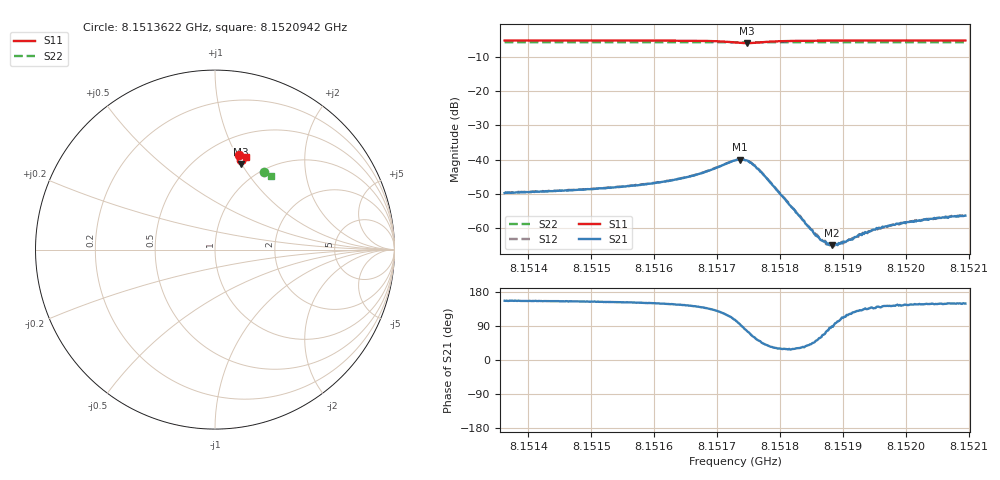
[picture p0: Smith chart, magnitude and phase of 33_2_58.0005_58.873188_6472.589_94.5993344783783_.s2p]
#  HZ  S  RI  R  50.00
! Rohde & Schwarz Vector Network Analyzer
! Rohde-Schwarz,ZNB20-2Port,1311601062101988,3.16
! Created: UTC 3/21/2024, 12:51:46 AM
! freq[Hz]  re:S11  im:S11  re:S21  im:S21  re:S12  im:S12  re:S22  im:S22
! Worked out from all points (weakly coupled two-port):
!   401 points, 8.1513622 GHz to 8.1520942 GHz, reference 50 ohm
!   highest |S21| = -39.98 dB at 8.1517355 GHz (marker M1); lowest = -64.9 dB at 8.1518819 GHz (marker M2)
!   lowest |S11| = -6.1 dB at 8.1517465 GHz (marker M3), VSWR 2.98, Z = 39.1 + j49.5 ohm
!   |S11| at or under -10 dB: nowhere
!   |S22| runs from -5.8 to -5.8 dB; largest |S21 - S12| = 0.0003
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8.15136218e9  0.1322 0.5275  -0.00298 0.0013  -0.00305 0.00137  0.2738 0.4349
8.15148479e9  0.1424 0.5247  -0.0033 0.0016  -0.00327 0.00162  0.2806 0.4305
8.15155799e9  0.1493 0.5223  -0.00364 0.00192  -0.00362 0.00201  0.2845 0.4278
8.1516074e9  0.1549 0.5196  -0.00399 0.00238  -0.00398 0.00246  0.2871 0.4258
8.15166413e9  0.1635 0.5131  -0.00466 0.00363  -0.00464 0.00377  0.2903 0.4234
8.15172818e9  0.1631 0.4818  -0.00265 0.00934  -0.00244 0.00947  0.2929 0.42
8.1517355e9  0.1562 0.4772  -0.00091 0.00998  -0.000773 0.0101  0.293 0.4197
8.15174648e9  0.1422 0.4766  0.00205 0.00954  0.00209 0.00953  0.2931 0.4195
8.15175746e9  0.1308 0.4844  0.00403 0.00733  0.0041 0.00738  0.2933 0.4195
8.15177393e9  0.1269 0.5002  0.00439 0.00404  0.00447 0.00404  0.2943 0.4197
8.15185079e9  0.1468 0.5193  0.000675 0.000659  0.000703 0.00063  0.2991 0.4171
8.15186543e9  0.1494 0.5197  0.000323 0.00058  0.000295 0.000604  0.2999 0.4165
8.15187641e9  0.1512 0.5198  0.00012 0.000588  0.000115 0.000583  0.3004 0.4162
8.1518819e9  0.152 0.5198  1.28e-05 0.000566  5.89e-05 0.000568  0.3008 0.4159
8.15189471e9  0.1537 0.5197  -0.000155 0.000574  -0.000128 0.000589  0.3014 0.4154
8.15190386e9  0.1549 0.5198  -0.000259 0.000574  -0.000262 0.000575  0.302 0.4151
8.15192948e9  0.158 0.5194  -0.00052 0.000598  -0.000543 0.000619  0.3034 0.4141
8.15194961e9  0.1601 0.5192  -0.000698 0.000652  -0.000719 0.00062  0.3044 0.4132
8.1519734e9  0.1625 0.5186  -0.000871 0.000656  -0.000855 0.000674  0.3058 0.4124
8.15198255e9  0.1635 0.5186  -0.000896 0.000676  -0.000927 0.000693  0.3061 0.412
8.15201732e9  0.1665 0.5178  -0.00108 0.00071  -0.00107 0.000738  0.308 0.4105
8.15209418e9  0.1729 0.5163  -0.00131 0.000788  -0.00133 0.000786  0.3119 0.4074
